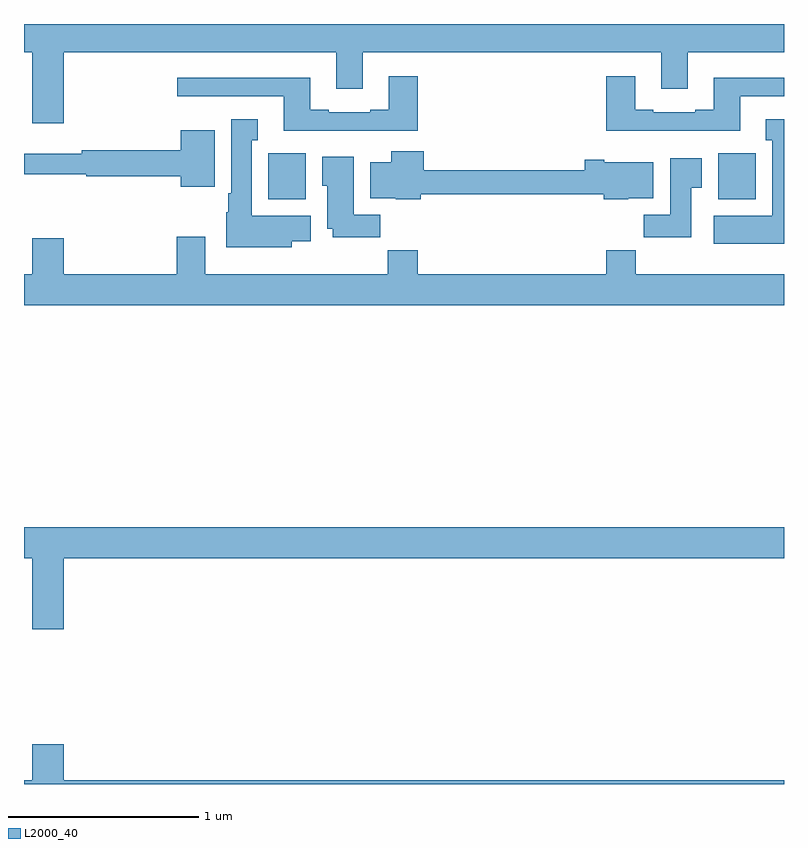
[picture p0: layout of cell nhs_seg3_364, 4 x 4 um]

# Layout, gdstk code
import gdstk
lib = gdstk.Library(unit=1e-6, precision=1e-09)
def R(c, l, rs):  # rectangles x0, y0, x1, y1
    for r in rs: c.add(gdstk.rectangle(r[:2], r[2:], *l))
def P(c, l, *ps):  # polygons
    for p in ps: c.add(gdstk.Polygon(p, *l))
L2000_40 = (2000, 40)

nhs_seg3_364 = lib.new_cell('nhs_seg3_364')
R(nhs_seg3_364, L2000_40, [(130.286,697.478,130.483,697.72), (132.653,697.478,132.85,697.72)])
P(nhs_seg3_364, L2000_40, [(129.208,698.252),(130.643,698.252),(130.643,698.058),(130.783,698.058),(130.783,698.252),(132.353,698.252),(132.353,698.058),(132.493,698.058),(132.493,698.252),(133,698.252),(133,698.4),(129,698.4),(129,698.252),(129.044,698.252),(129.044,697.878),(129.208,697.878)],
  [(131.072,698.125),(130.919,698.125),(130.919,697.948),(130.823,697.948),(130.823,697.935),(130.603,697.935),(130.603,697.948),(130.507,697.948),(130.507,698.116),(129.807,698.116),(129.807,698.019),(130.367,698.019),(130.367,697.838),(131.072,697.838)],
  [(132.769,698.019),(133,698.019),(133,698.116),(132.629,698.116),(132.629,697.948),(132.533,697.948),(132.533,697.935),(132.313,697.935),(132.313,697.948),(132.217,697.948),(132.217,698.125),(132.065,698.125),(132.065,697.838),(132.769,697.838)],
  [(130.408,697.256),(130.51,697.256),(130.51,697.39),(130.198,697.39),(130.198,697.787),(130.231,697.787),(130.231,697.9),(130.091,697.9),(130.091,697.51),(130.076,697.51),(130.076,697.41),(130.064,697.41),(130.064,697.226),(130.408,697.226)],
  [(133,697.9),(132.905,697.9),(132.905,697.787),(132.938,697.787),(132.938,697.39),(132.629,697.39),(132.629,697.244),(133,697.244)],
  [(130.003,697.84),(129.824,697.84),(129.824,697.736),(129.304,697.736),(129.304,697.717),(129,697.717),(129,697.608),(129.328,697.608),(129.328,697.6),(129.824,697.6),(129.824,697.544),(130.003,697.544)],
  [(131.087,697.503),(132.05,697.503),(132.05,697.478),(132.18,697.478),(132.18,697.484),(132.313,697.484),(132.313,697.672),(132.055,697.672),(132.055,697.685),(131.951,697.685),(131.951,697.631),(131.105,697.631),(131.105,697.729),(130.934,697.729),(130.934,697.672),(130.823,697.672),(130.823,697.484),(130.956,697.484),(130.956,697.478),(131.087,697.478)],
  [(130.874,697.396),(130.735,697.396),(130.735,697.702),(130.571,697.702),(130.571,697.548),(130.595,697.548),(130.595,697.322),(130.625,697.322),(130.625,697.278),(130.874,697.278)],
  [(132.511,697.537),(132.568,697.537),(132.568,697.693),(132.401,697.693),(132.401,697.396),(132.262,697.396),(132.262,697.278),(132.511,697.278)],
  [(133,697.084),(132.221,697.084),(132.221,697.208),(132.065,697.208),(132.065,697.084),(131.072,697.084),(131.072,697.208),(130.915,697.208),(130.915,697.084),(129.955,697.084),(129.955,697.279),(129.803,697.279),(129.803,697.084),(129.208,697.084),(129.208,697.273),(129.044,697.273),(129.044,697.084),(129,697.084),(129,696.92),(133,696.92)],
  [(129.208,695.588),(133,695.588),(133,695.752),(129,695.752),(129,695.588),(129.044,695.588),(129.044,695.214),(129.208,695.214)],
  [(133,694.42),(129.208,694.42),(129.208,694.609),(129.044,694.609),(129.044,694.42),(129,694.42),(129,694.4),(133,694.4)])

lib.write_gds('nhs_seg3_364.gds')
